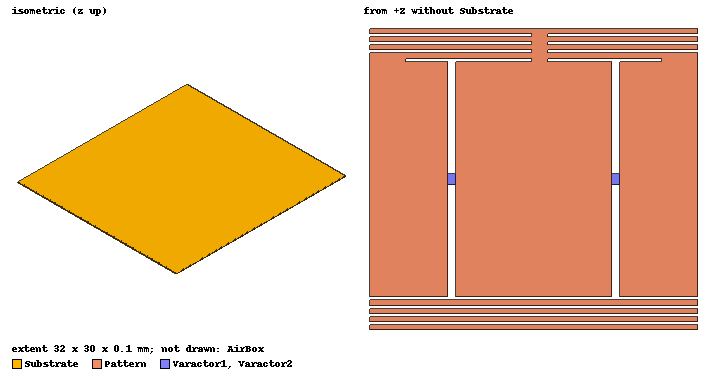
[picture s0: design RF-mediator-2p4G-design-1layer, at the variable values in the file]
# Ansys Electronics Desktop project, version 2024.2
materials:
  air: permittivity=1.0006 permeability=1.0000004
  copper: permeability=0.999991 conductivity=58000000
  polyimide: permittivity=3.5 dielectric_loss_tangent=0.008
  vacuum: permittivity=1

design RF-mediator-2p4G-design-1layer (HFSS, HFSS Modal Network, model units mm)
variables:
  air_thickness = 122mm  # Thickness of the airbox for simulation, one wavelength
  sub_XSize = 2*(PatchSizeX+PatchGapX)  # Length of the substrate along X axis, for one surface element
  sub_YSize = PatchSizeY + wireYSize*8 + wireGapY*10  # Width of the substrate along Yaxis, for one surface element
  sub_PosX = 0  # Start position of substrate along X axis, provides offset, should be fixed to 0
  sub_PosY = 0  # Start position of substrate along Y axis, provides offset, should be fixed to 0
  copper_thickness = 0.02mm  # Thickness of the copper layer in the PCB, fixed by fabrication process
  sub_PosZ = copper_thickness  # Start position of substrate along Z axis, provides offset, should be fixed
  sub_thickness = 0.025mm  # One forth of the thickness of the PCB substrate
  PatchSizeX = 15.3mm  # Length of the center patch of the surface pattern, each element has two patches connected by varactor
  PatchSizeY = 23mm  # Width of the center patch of the surface element
  PatchGapX = 0.7mm  # The gap between two patches, used to host varactor, fixed as we do not plan to change varactor
  wireYSize = 0.5mm  # Biasing wire width along Y axis, biasing wire is to supply voltage for varactor
  wireGapY = 0.3mm  # Biasing wire gap between wires along Y axis
  GNDconnetXSize = 3.5mm  # Width of the connection between GND and patch
  viaRadius = 0.2mm  # Radius of the via, via is used to router the wire and supply voltage to varactor
  viaPosX = sub_XSize/2  # Position of the visa along X axis, fixed by equation
  viaPosY = sub_PosY + sub_YSize/2 + PatchSizeY/2 +(wireYSize+wireGapY)*4 -wireYSize/2  # Position of the visa along Y axis, fixed by equation
  viaPosZ = sub_PosZ  # Position of the visa along Z axis, fixed by equation
  viaGapY = -4*(wireGapY+wireYSize)  # The gap between two sets of vias to route under the biasing wires
  varactorSizeY = 1mm  # size of the varactor, fixed
  capacitance = 2pF  # capacitance of the varactor, with a tunable range between 0.65 to 2pF
  resistance = 0.8ohm  # resistance of the varactor
  viaWireWidth = 1.6mm  # width of the wire connecting two sets of vias, fixed
  viaGapX = viaWireWidth-2*viaRadius  # Gap between vias along X axis.
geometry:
  AirBox [air] = box(corner=(0mm, 0mm, -air_thickness/2), size=(sub_XSize, sub_YSize, air_thickness))
  Substrate [polyimide] = box(corner=(sub_PosX, sub_PosY, sub_PosZ-sub_thickness*1.5), size=(sub_XSize, sub_YSize, sub_thickness*4))
  Pattern [copper] = rectangle(corner=(sub_PosX + sub_XSize/2 - PatchSizeX/2, sub_PosY+sub_YSize/2-PatchSizeY/2, sub_PosZ+sub_thickness), x_size=PatchSizeX, y_size=PatchSizeY)
  Pattern.thicken(copper_thickness)
  UpperPatch = rectangle(corner=(sub_PosX, sub_PosY +sub_YSize/2 - PatchSizeY/2, sub_PosZ +sub_thickness), x_size=PatchSizeX/2, y_size=PatchSizeY)
  UpperPatch.thicken(copper_thickness)
  UpperPatch.duplicate_along_line(step=(PatchSizeX *1.5 + PatchGapX*2, 0mm, 0mm), total=2, attached)
  BiasWires = rectangle(corner=(sub_PosX, sub_PosY +sub_YSize/2 - PatchSizeY/2 - (wireYSize+wireGapY)*4, sub_PosZ+sub_thickness), x_size=sub_XSize, y_size=wireYSize)
  BiasWires.thicken(copper_thickness)
  BiasWires.duplicate_along_line(step=(0mm, wireYSize +wireGapY, 0mm), total=4, attached)
  BiasWires.duplicate_along_line(step=(0mm, PatchSizeY +(wireYSize+wireGapY)*4 + wireGapY, 0mm), total=2, attached)
  Rectangle1 = rectangle(corner=(sub_PosX, sub_PosY + sub_YSize/2 +PatchSizeY/2, sub_PosZ+sub_thickness), x_size=GNDconnetXSize, y_size=wireGapY)
  Rectangle1.thicken(copper_thickness)
  Rectangle1.duplicate_along_line(step=(sub_XSize-GNDconnetXSize, 0mm, 0mm), total=2, attached)
  Vias = cylinder(axis=Z, base_centre=(viaPosX, viaPosY, viaPosZ), radius=viaRadius, height=sub_thickness)
  Vias.duplicate_along_line(step=(0mm, viaGapY, 0mm), total=2, attached)
  viaWire = rectangle(corner=(viaPosX - viaRadius, viaPosY, sub_PosZ-copper_thickness), x_size=viaWireWidth, y_size=viaGapY)
  viaWire.thicken(-copper_thickness)
  Varactor1 = rectangle(corner=(sub_PosX +PatchSizeX/2, sub_PosY+ sub_YSize/2 -varactorSizeY/2, sub_PosZ+sub_thickness+ copper_thickness), x_size=PatchGapX, y_size=varactorSizeY)
  Varactor2 = rectangle(corner=(sub_PosX +PatchSizeX * 1.5 +PatchGapX, sub_PosY+ sub_YSize/2 -varactorSizeY/2, sub_PosZ+sub_thickness+ copper_thickness), x_size=PatchGapX, y_size=varactorSizeY)
  Vias1 = cylinder(axis=Z, base_centre=(viaPosX + viaGapX/2, viaPosY, viaPosZ), radius=viaRadius, height=sub_thickness)
  Vias1.duplicate_along_line(step=(0mm, viaGapY, 0mm), total=2, attached)
  Vias2 = cylinder(axis=Z, base_centre=(viaPosX + viaGapX, viaPosY, viaPosZ), radius=viaRadius, height=sub_thickness)
  Vias2.duplicate_along_line(step=(0mm, viaGapY, 0mm), total=2, attached)
  Pattern.unite(Rectangle1, UpperPatch, Vias, Vias1, Vias2, viaWire, BiasWires)
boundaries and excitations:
  LumpVaractor: Lumped RLC Objects=Varactor1 CurrentLine{(8.35, 15, 0.065) -> (7.65, 15, 0.065)} RLC_Type=Serial Resistance=resistance Capacitance=capacitance
  LatticePair1: Lattice Pair Faces=AirBox.face(+y, -y) CoordSysVector{(32, 30, 61) -> (32, 30, -61)} PhaseDelay=UseScanAngle Phi=0deg Theta=0deg
  LatticePair2: Lattice Pair Faces=AirBox.face(+x, -x) CoordSysVector{(32, 0, 61) -> (32, 0, -61)} PhaseDelay=UseScanAngle Phi=0deg Theta=0deg
  LumpVaractor2: Lumped RLC Objects=Varactor2 CurrentLine{(24.35, 15, 0.065) -> (23.65, 15, 0.065)} RLC_Type=Serial Resistance=resistance Capacitance=capacitance
  FloquetPort1: Floquet Port Faces=AirBox.face(+z) NumModes=2 DeembedDist="air_thickness/2 - sub_thickness*4" Modes{Mode1{CharImp=Zpi} Mode2{CharImp=Zpi}} PhaseDelay=UseScanAngle Phi=0deg Theta=0deg LatticeAVector{(0, 0, 61) -> (0, 30, 61)} LatticeBVector{(0, 0, 61) -> (32, 0, 61)} ModesList{Mode{ModeNumber=1 IndexM=0 IndexN=0 KC2=0 PropagationState=Propagating Attenuation=0 PolarizationState=TM AffectsRefinement} Mode{ModeNumber=2 IndexM=0 IndexN=0 KC2=0 PropagationState=Propagating Attenuation=0 PolarizationState=TE AffectsRefinement}}
  FloquetPort2: Floquet Port Faces=AirBox.face(-z) NumModes=2 DeembedDist=air_thickness/2-sub_thickness Modes{Mode1{CharImp=Zpi} Mode2{CharImp=Zpi}} PhaseDelay=UseScanAngle Phi=0deg Theta=0deg LatticeAVector{(0, 0, -61) -> (0, 30, -61)} LatticeBVector{(0, 0, -61) -> (32, 0, -61)} ModesList{Mode{ModeNumber=1 IndexM=0 IndexN=0 KC2=0 PropagationState=Propagating Attenuation=0 PolarizationState=TM AffectsRefinement} Mode{ModeNumber=2 IndexM=0 IndexN=0 KC2=0 PropagationState=Propagating Attenuation=0 PolarizationState=TE AffectsRefinement}}
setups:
  Setup1: HfssDriven MultipleAdaptiveFreqsSetup{Low=1.5GHz High=3.5GHz} MaxDeltaS=0.02 MaximumPasses=15 MinimumPasses=1 MinimumConvergedPasses=1 PercentRefinement=30 BasisOrder=1 PortAccuracy=2 DrivenSolverType="Direct Solver"
    sweep Sweep: 1.5GHz to 3.5GHz, 201 points; Type=Interpolating InterpTolerance=0.5 InterpMaxSolns=250 InterpUsePortImped=false PassivityErrorTolerance=0.0001
    sweep Sweep1: 2GHz to 3GHz, 21 points; disabled Type=Discrete
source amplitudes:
  FloquetPort1:1: 1W 0deg
  FloquetPort1:2, FloquetPort2:1, FloquetPort2:2: 0W 0deg
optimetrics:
  Cap: Parametric Sim._Setups=[Setup1]
    sweep capacitance: LIN 0.65pF 1.55pF 0.1pF
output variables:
  Y_from_Z = 1/Z(FloquetPort2:1,FloquetPort1:1)
  A_fromS = ( (1+S(FloquetPort1:1,FloquetPort1:1)) * (1-S(FloquetPort2:1,FloquetPort2:1)) + S(FloquetPort1:1,FloquetPort2:1) * S(FloquetPort2:1,FloquetPort1:1) ) / (2 * S(FloquetPort2:1,FloquetPort1:1))
  C_fromS = ( (1-S(FloquetPort1:1,FloquetPort1:1)) * (1-S(FloquetPort2:1,FloquetPort2:1)) - S(FloquetPort1:1,FloquetPort2:1) * S(FloquetPort2:1,FloquetPort1:1) ) / (2 * S(FloquetPort2:1,FloquetPort1:1) * 377)
  corrected_Y = (Y_from_Z - 1j/377*sin(air_beta *air_thickness) ) / (cos(air_beta*air_thickness/2)^2)
  air_beta = 2*pi*Freq/3e8
  air_Z = 377ohm
  sub_Z = 377ohm / sqrt(3.55)
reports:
  |S21| for Perpendicular Polarization: dB(S(FloquetPort2:2,FloquetPort1:2)) vs Freq on Setup1 : Sweep [capacitance=all]; markers MX1 at x=2.5036765e+09
  |S21| for Parallel Polarization: dB(S(FloquetPort2:1,FloquetPort1:1)) vs Freq on Setup1 : Sweep [capacitance=all]; markers MX1 at x=2.1964561e+09
  |S11| for parallel polarization: dB(S(FloquetPort1:1,FloquetPort1:1)) vs Freq on Setup1 : Sweep; markers MX1 at x=2.5044843e+09
  |S11| for perpendicular: dB(S(FloquetPort1:2,FloquetPort1:2)) vs Freq on Setup1 : Sweep
  Phase of S21 for Parallel Polarization: cang_deg(S(FloquetPort2:1,FloquetPort1:1)) vs Freq on Setup1 : Sweep [capacitance=all]; markers MX1 at x=9.9983633e+09
  Phase of S21 for Perpendicular Polarization: cang_deg(S(FloquetPort2:2,FloquetPort1:2)) vs Freq on Setup1 : Sweep
  Phase of |S11|: cang_deg(S(FloquetPort1:1,FloquetPort1:1)) vs Freq on Setup1 : Sweep [capacitance=all]; markers MX1 at x=2.4413448e+09
  Y Parameter Plot 1: im(1/Z(FloquetPort2:1,FloquetPort1:1)) vs Freq on Setup1 : Sweep [capacitance=all]; markers MX1 at x=2.4521593e+09
  Plot 1: re(Z(FloquetPort2:2,FloquetPort1:1)) vs Freq on Setup1 : Sweep [capacitance=all]; markers MX1 at x=2.4064227e+09
  C/Y from S: im(C_fromS) vs Freq on Setup1 : Sweep [capacitance=all]; markers MX1 at x=2.5026667e+09
  Output Variables Plot 1: re(C_fromS) vs Freq on Setup1 : Sweep [capacitance=all]; markers MX1 at x=2.3894737e+09
